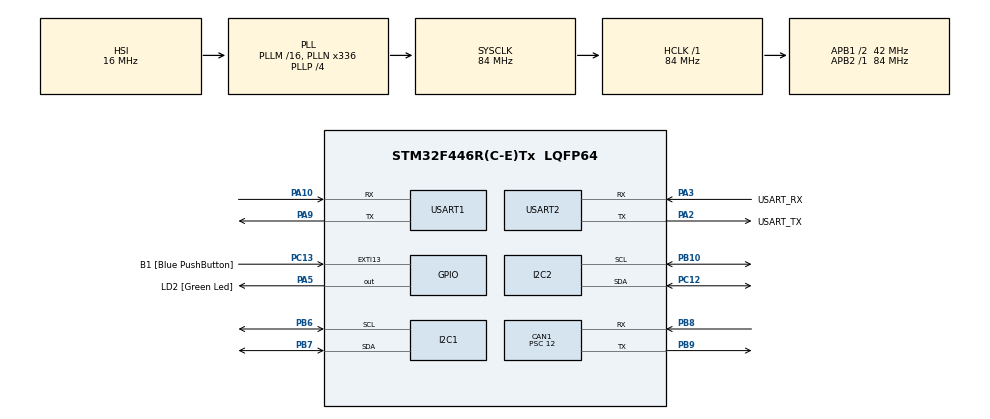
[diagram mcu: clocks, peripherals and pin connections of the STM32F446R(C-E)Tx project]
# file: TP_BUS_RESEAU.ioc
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CAN1.AWUM=ENABLE
CAN1.BS1=CAN_BS1_3TQ
CAN1.BS2=CAN_BS2_3TQ
CAN1.CalculateBaudRate=500000
CAN1.CalculateTimeBit=2000
CAN1.CalculateTimeQuantum=285.7142857142857
CAN1.Mode=CAN_MODE_LOOPBACK
CAN1.NART=ENABLE
CAN1.Prescaler=12
Mcu.Family=STM32F4
Mcu.Name=STM32F446R(C-E)Tx
Mcu.Package=LQFP64
NVIC.PriorityGroup=NVIC_PRIORITYGROUP_0
NVIC.USART1_IRQn=true\:0\:0\:false\:false\:true\:true\:true\:true
NVIC.USART2_IRQn=true\:0\:0\:false\:false\:true\:true\:true\:true
PA10.Mode=Asynchronous
PA10.Signal=USART1_RX
PA13.GPIO_Label=TMS
PA13.Signal=SYS_JTMS-SWDIO
PA14.GPIO_Label=TCK
PA14.Signal=SYS_JTCK-SWCLK
PA2.GPIO_Label=USART_TX
PA2.Mode=Asynchronous
PA2.Signal=USART2_TX
PA3.GPIO_Label=USART_RX
PA3.Mode=Asynchronous
PA3.Signal=USART2_RX
PA5.GPIO_Label=LD2 [Green Led]
PA5.Signal=GPIO_Output
PA9.Mode=Asynchronous
PA9.Signal=USART1_TX
PB10.Mode=I2C
PB10.Signal=I2C2_SCL
PB3.GPIO_Label=SWO
PB3.Signal=SYS_JTDO-SWO
PB6.Mode=I2C
PB6.Signal=I2C1_SCL
PB7.Mode=I2C
PB7.Signal=I2C1_SDA
PB8.Mode=CAN_Activate
PB8.Signal=CAN1_RX
PB9.Mode=CAN_Activate
PB9.Signal=CAN1_TX
PC12.Mode=I2C
PC12.Signal=I2C2_SDA
PC13.GPIO_Label=B1 [Blue PushButton]
PC13.GPIO_ModeDefaultEXTI=GPIO_MODE_IT_FALLING
PC13.Signal=GPXTI13
PC14-OSC32_IN.Signal=RCC_OSC32_IN
PC15-OSC32_OUT.Signal=RCC_OSC32_OUT
PH0-OSC_IN.Mode=HSE-External-Oscillator
PH0-OSC_IN.Signal=RCC_OSC_IN
PH1-OSC_OUT.Mode=HSE-External-Oscillator
PH1-OSC_OUT.Signal=RCC_OSC_OUT
ProjectManager.HeapSize=0x200
ProjectManager.StackSize=0x400
ProjectManager.TargetToolchain=STM32CubeIDE
RCC.AHBFreq_Value=84000000
RCC.APB1CLKDivider=RCC_HCLK_DIV2
RCC.APB1Freq_Value=42000000
RCC.APB1TimFreq_Value=84000000
RCC.APB2Freq_Value=84000000
RCC.APB2TimFreq_Value=84000000
RCC.CortexFreq_Value=84000000
RCC.FLatency-AdvancedSettings=FLASH_LATENCY_2
RCC.HCLKFreq_Value=84000000
RCC.HSE_VALUE=8000000
RCC.HSI_VALUE=16000000
RCC.LSE_VALUE=32768
RCC.PLLN=336
RCC.PLLP=RCC_PLLP_DIV4
RCC.SYSCLKFreq_VALUE=84000000
RCC.SYSCLKSource=RCC_SYSCLKSOURCE_PLLCLK
RCC.USBFreq_Value=168000000
RCC.VCOOutputFreq_Value=336000000
USART1.VirtualMode=VM_ASYNC
USART2.VirtualMode=VM_ASYNC
board=NUCLEO-F446RE

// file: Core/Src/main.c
/* USER CODE BEGIN Header */
/**
  ******************************************************************************
  * @file           : main.c
  * @brief          : Main program body
  ******************************************************************************
  * @attention
  *
  * Copyright (c) 2023 STMicroelectronics.
  * All rights reserved.
  *
  * This software is licensed under terms that can be found in the LICENSE file
  * in the root directory of this software component.
  * If no LICENSE file comes with this software, it is provided AS-IS.
  *
  ******************************************************************************
  */
/* USER CODE END Header */
#include "main.h"
#include "can.h"
#include "i2c.h"
#include "usart.h"
#include "gpio.h"
/* USER CODE BEGIN Includes */
#include "bmp280.h"
#include "adxl345.h"
#include "stdio.h"
#include "mpu9250.h"
#include "stdio.h"
#include "string.h"
#include <stdlib.h>
#include <math.h>
/* USER CODE END Includes */

/* USER CODE BEGIN PD */
#define MAX_BUFFER_SIZE 100
/* USER CODE END PD */

/* USER CODE BEGIN PV */
char *token;
char spr_buffer[50];
char rxBuffer[MAX_BUFFER_SIZE];
int temp_diff;
int value;
float Angle;
float coefficient_K = 255;
uint8_t length = 0x02;
uint8_t Tx_Error = 100 ;
uint8_t rxData;
uint8_t  can_buf[2];
uint16_t rxIndex = 0;
uint16_t *p_gyro = gyro;
uint16_t *p_accel = accel;
uint16_t *p_magnet = magnet;
uint16_t gyro[3], accel[3],magnet[3];
uint32_t comp_temp_ptr = 0;
uint32_t new_comp_temp_ptr = 0;
uint32_t comp_presse_ptr = 0;
struct RawData rawData ;
struct GyroCal gyroCal ;
struct SensorData sensorData;
struct Attitude attitude;
CAN_TxHeaderTypeDef Tx_pHeader;
/* USER CODE END PV */

void SystemClock_Config(void);
/* USER CODE BEGIN PFP */
uint32_t CAN_TX_Message(uint8_t TxData[], uint8_t length);
/* USER CODE END PFP */

/* USER CODE BEGIN 0 */
/**
 * @brief Processing the string received from a serial port interrup
 *
 * @param data  rxBuffer
 */
void UART_RX_Complete_Callback(char* data) {
    //printf("Received: %s\r\n", data);
    if(!strcmp( data , "GET_T\n"))
    {
    	  read_bmp280_temperature(&comp_temp_ptr);
    	  memset(spr_buffer, 0, sizeof(spr_buffer));
    	  sprintf(spr_buffer , "T=+%02d.%02d_C\r\n", (int)comp_temp_ptr/100, (int)(comp_temp_ptr % 100));
    	  printf("send_temp_data: %s\n", spr_buffer);
    	  HAL_UART_Transmit(&huart1,(uint8_t *)spr_buffer,strlen(spr_buffer),0xffff);
    }
    else if(!strcmp( data , "GET_P\n"))
    {
    	  read_bmp280_presse(&comp_presse_ptr);
    	  memset(spr_buffer, 0, sizeof(spr_buffer));
    	  sprintf(spr_buffer , "P=%06dPa\r\n",(int)comp_presse_ptr/100);
    	  printf("send_press_data: %s\n", spr_buffer);
    	  HAL_UART_Transmit(&huart1,(uint8_t *)spr_buffer,strlen(spr_buffer),0xffff);
    }
    else if(!strcmp( data , "GET_A\n"))
       {
    	 //MPU_calcAttitude();
       	  memset(spr_buffer, 0, sizeof(spr_buffer));
       	  sprintf(spr_buffer , "A=%7.4f\r\n", Angle);
          printf("send_Angle_data: %s\n", spr_buffer);
       	  HAL_UART_Transmit(&huart1,(uint8_t *)spr_buffer,strlen(spr_buffer),0xffff);
       }
    else if (!strcmp( data , "GET_K\n"))
    {
      	  memset(spr_buffer, 0, sizeof(spr_buffer));
          sprintf(spr_buffer , "K=%7.5f\r\n",coefficient_K);
          printf("k: %s\n", spr_buffer);
          HAL_UART_Transmit(&huart1,(uint8_t *)spr_buffer,strlen(spr_buffer),0xffff);
    }
    else if(sscanf(data, "SET_K=%d", &value) == 1 && value >= 0 && value < 256)
    {
    	  coefficient_K = (float) value / 100 ;
    	  printf("K is valid  %f\n", coefficient_K );
          memset(spr_buffer, 0, sizeof(spr_buffer));
          sprintf(spr_buffer , "SET_K=OK\r\n");
          HAL_UART_Transmit(&huart1,(uint8_t *)spr_buffer,strlen(spr_buffer),0xffff);
    }
    else
    {
		  memset(spr_buffer, 0, sizeof(spr_buffer));
		  sprintf(spr_buffer , "order  err\r\n");
	      printf(" %s\n", spr_buffer);
	      HAL_UART_Transmit(&huart1,(uint8_t *)spr_buffer,strlen(spr_buffer),0xffff);
    }

}

void HAL_UART_RxCpltCallback(UART_HandleTypeDef *huart) {
    if (huart->Instance == USART1) {
        rxBuffer[rxIndex++] = rxData;
       if (rxData == '\n') {
        rxBuffer[rxIndex] = '\0';
        rxIndex = 0;
        //printf("Received data: %s\n", rxBuffer);
        UART_RX_Complete_Callback(rxBuffer);
        }
        HAL_UART_Receive_IT(&huart1, &rxData, 1);
    }
}
/* USER CODE END 0 */

int main(void)
{

  /* MCU Configuration--------------------------------------------------------*/

  /* Reset of all peripherals, Initializes the Flash interface and the Systick. */
  HAL_Init();

  /* Configure the system clock */
  SystemClock_Config();

  /* Initialize all configured peripherals */
  MX_GPIO_Init();
  MX_USART2_UART_Init();
  MX_I2C1_Init();
  MX_I2C2_Init();
  MX_USART1_UART_Init();
  MX_CAN1_Init();
  /* USER CODE BEGIN 2 */
  MPU9250_Init();
  BMP280_Init();
  HAL_UART_Receive_IT(&huart1, &rxData, 1);
  MPU_calibrateGyro(1500);
  HAL_CAN_Start(&hcan1);
  /* USER CODE END 2 */

  /* Infinite loop */
  while (1)
  {

    /* USER CODE BEGIN 3 */
  read_bmp280_temperature(&comp_temp_ptr);
  HAL_Delay(1000);
  read_bmp280_temperature(&new_comp_temp_ptr);
  temp_diff = abs(new_comp_temp_ptr - comp_temp_ptr);
  Angle = round(((float)temp_diff/10) * ((float)coefficient_K));
  can_buf[0] = (Angle > UINT8_MAX) ? UINT8_MAX : (uint8_t)Angle;
  printf("can_buf[0]: %x\n",  can_buf[0]);
  can_buf[1] = 0x00;
  CAN_TX_Message(can_buf, length) ;
  can_buf[1] = 0x01;
  printf("can_buf[0]: %x\n",  can_buf[0]);
  CAN_TX_Message(can_buf, length) ;

  //MPU_calcAttitude();
  //printf(" R : %.1f,   P :  %.1f,   Y :  %f\r\n", attitude.r, attitude.p, attitude.y );
  //ADXL345_Data_Show();
  }
  /* USER CODE END 3 */
}

void SystemClock_Config(void)
{
  RCC_OscInitTypeDef RCC_OscInitStruct = {0};
  RCC_ClkInitTypeDef RCC_ClkInitStruct = {0};

  /** Configure the main internal regulator output voltage
  */
  __HAL_RCC_PWR_CLK_ENABLE();
  __HAL_PWR_VOLTAGESCALING_CONFIG(PWR_REGULATOR_VOLTAGE_SCALE3);

  /** Initializes the RCC Oscillators according to the specified parameters
  * in the RCC_OscInitTypeDef structure.
  */
  RCC_OscInitStruct.OscillatorType = RCC_OSCILLATORTYPE_HSI;
  RCC_OscInitStruct.HSIState = RCC_HSI_ON;
  RCC_OscInitStruct.HSICalibrationValue = RCC_HSICALIBRATION_DEFAULT;
  RCC_OscInitStruct.PLL.PLLState = RCC_PLL_ON;
  RCC_OscInitStruct.PLL.PLLSource = RCC_PLLSOURCE_HSI;
  RCC_OscInitStruct.PLL.PLLM = 16;
  RCC_OscInitStruct.PLL.PLLN = 336;
  RCC_OscInitStruct.PLL.PLLP = RCC_PLLP_DIV4;
  RCC_OscInitStruct.PLL.PLLQ = 2;
  RCC_OscInitStruct.PLL.PLLR = 2;
  if (HAL_RCC_OscConfig(&RCC_OscInitStruct) != HAL_OK)
  {
    Error_Handler();
  }

  /** Initializes the CPU, AHB and APB buses clocks
  */
  RCC_ClkInitStruct.ClockType = RCC_CLOCKTYPE_HCLK|RCC_CLOCKTYPE_SYSCLK
                              |RCC_CLOCKTYPE_PCLK1|RCC_CLOCKTYPE_PCLK2;
  RCC_ClkInitStruct.SYSCLKSource = RCC_SYSCLKSOURCE_PLLCLK;
  RCC_ClkInitStruct.AHBCLKDivider = RCC_SYSCLK_DIV1;
  RCC_ClkInitStruct.APB1CLKDivider = RCC_HCLK_DIV2;
  RCC_ClkInitStruct.APB2CLKDivider = RCC_HCLK_DIV1;

  if (HAL_RCC_ClockConfig(&RCC_ClkInitStruct, FLASH_LATENCY_2) != HAL_OK)
  {
    Error_Handler();
  }
}

void Error_Handler(void)
{
  __disable_irq();
  while (1)
  {
  }
}
